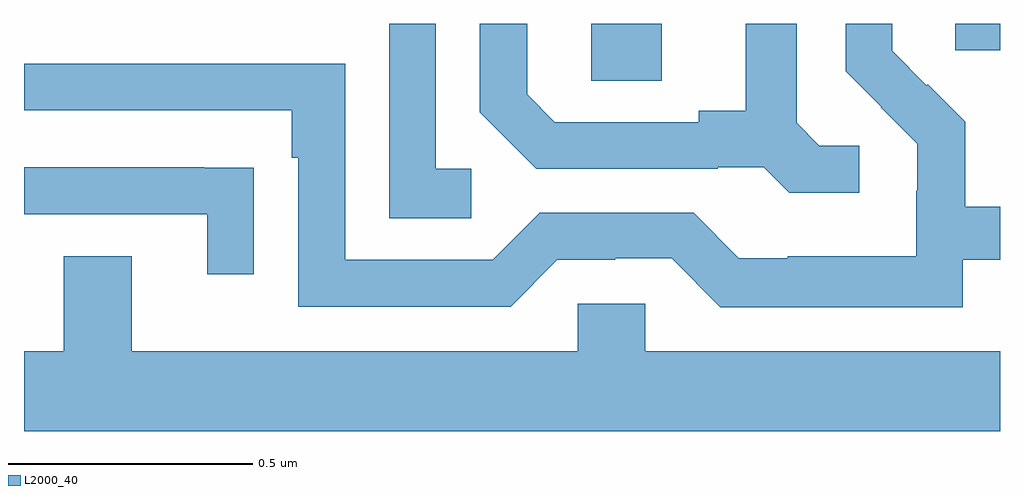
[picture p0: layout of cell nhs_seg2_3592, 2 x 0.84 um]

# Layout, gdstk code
import gdstk
lib = gdstk.Library(unit=1e-6, precision=1e-09)
def R(c, l, rs):  # rectangles x0, y0, x1, y1
    for r in rs: c.add(gdstk.rectangle(r[:2], r[2:], *l))
def P(c, l, *ps):  # polygons
    for p in ps: c.add(gdstk.Polygon(p, *l))
L2000_40 = (2000, 40)

nhs_seg2_3592 = lib.new_cell('nhs_seg2_3592')
R(nhs_seg2_3592, L2000_40, [(156.162,653.683,156.307,653.8), (156.908,653.745,157,653.8)])
P(nhs_seg2_3592, L2000_40, [(156.924,653.316),(157,653.316),(157,653.425),(156.929,653.425),(156.929,653.599),(156.852,653.676),(156.849,653.673),(156.779,653.744),(156.779,653.8),(156.684,653.8),(156.684,653.702),(156.757,653.629),(156.756,653.628),(156.83,653.554),(156.83,653.457),(156.828,653.457),(156.828,653.323),(156.565,653.323),(156.565,653.319),(156.465,653.319),(156.372,653.412),(156.057,653.412),(155.961,653.316),(155.658,653.316),(155.658,653.718),(155,653.718),(155,653.622),(155.549,653.622),(155.549,653.525),(155.562,653.525),(155.562,653.22),(155.997,653.22),(156.093,653.316),(156.212,653.316),(156.212,653.319),(156.327,653.319),(156.427,653.219),(156.924,653.219)],
  [(155.917,653.502),(155.844,653.502),(155.844,653.8),(155.748,653.8),(155.748,653.401),(155.917,653.401)],
  [(156.712,653.55),(156.63,653.55),(156.583,653.597),(156.583,653.8),(156.479,653.8),(156.479,653.621),(156.383,653.621),(156.383,653.598),(156.088,653.598),(156.031,653.655),(156.031,653.8),(155.934,653.8),(155.934,653.618),(156.05,653.502),(156.422,653.502),(156.422,653.505),(156.516,653.505),(156.568,653.453),(156.712,653.453)],
  [(155.471,653.504),(155.369,653.504),(155.369,653.505),(155,653.505),(155,653.409),(155.375,653.409),(155.375,653.286),(155.471,653.286)],
  [(157,653.128),(156.273,653.128),(156.273,653.226),(156.135,653.226),(156.135,653.128),(155.221,653.128),(155.221,653.323),(155.081,653.323),(155.081,653.128),(155,653.128),(155,652.964),(157,652.964)])

lib.write_gds('nhs_seg2_3592.gds')
